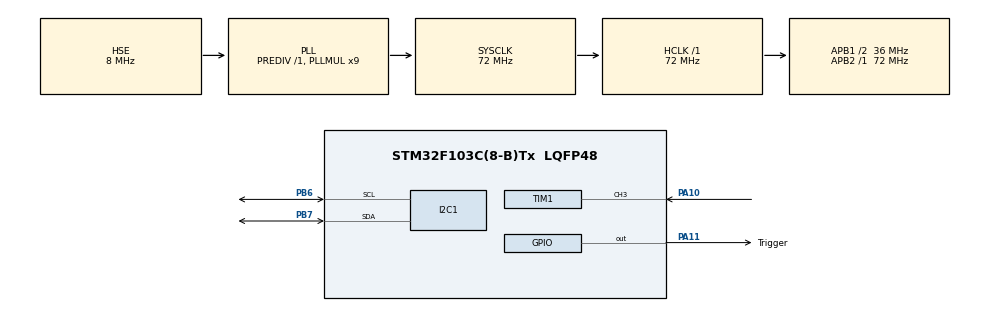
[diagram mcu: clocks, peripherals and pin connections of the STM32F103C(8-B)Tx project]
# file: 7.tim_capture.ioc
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I2C1.I2C_Mode=I2C_Fast
Mcu.Family=STM32F1
Mcu.Name=STM32F103C(8-B)Tx
Mcu.Package=LQFP48
NVIC.PriorityGroup=NVIC_PRIORITYGROUP_4
NVIC.TIM1_CC_IRQn=true\:0\:0\:false\:false\:true\:true\:true\:true
PA10.Signal=S_TIM1_CH3
PA11.GPIO_Label=Trigger
PA11.Signal=GPIO_Output
PA13.Mode=Serial_Wire
PA13.Signal=SYS_JTMS-SWDIO
PA14.Mode=Serial_Wire
PA14.Signal=SYS_JTCK-SWCLK
PB6.Mode=I2C
PB6.Signal=I2C1_SCL
PB7.Mode=I2C
PB7.Signal=I2C1_SDA
PD0-OSC_IN.Mode=HSE-External-Oscillator
PD0-OSC_IN.Signal=RCC_OSC_IN
PD1-OSC_OUT.Mode=HSE-External-Oscillator
PD1-OSC_OUT.Signal=RCC_OSC_OUT
ProjectManager.HeapSize=0x200
ProjectManager.StackSize=0x400
ProjectManager.TargetToolchain=CMake
RCC.AHBFreq_Value=72000000
RCC.APB1CLKDivider=RCC_HCLK_DIV2
RCC.APB1Freq_Value=36000000
RCC.APB1TimFreq_Value=72000000
RCC.APB2Freq_Value=72000000
RCC.APB2TimFreq_Value=72000000
RCC.HCLKFreq_Value=72000000
RCC.PLLMUL=RCC_PLL_MUL9
RCC.PLLSourceVirtual=RCC_PLLSOURCE_HSE
RCC.SYSCLKFreq_VALUE=72000000
RCC.SYSCLKSource=RCC_SYSCLKSOURCE_PLLCLK
RCC.USBFreq_Value=72000000
SH.S_TIM1_CH3.0=TIM1_CH3,Input_Capture3_from_TI3
TIM1.AutoReloadPreload=TIM_AUTORELOAD_PRELOAD_ENABLE
TIM1.Channel-Input_Capture3_from_TI3=TIM_CHANNEL_3
TIM1.Channel-Input_Capture4_from_TI3_63=TIM_CHANNEL_4
TIM1.ICPolarity_CH4=TIM_INPUTCHANNELPOLARITY_FALLING
TIM1.Prescaler=72-1
VP_TIM1_VS_ClockSourceINT.Mode=Internal
VP_TIM1_VS_indirect_ch3.Mode=Input_Capture4_from_TI3_63
board=custom

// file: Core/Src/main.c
/* USER CODE BEGIN Header */
/**
  ******************************************************************************
  * @file           : main.c
  * @brief          : Main program body
  ******************************************************************************
  * @attention
  *
  * Copyright (c) 2026 STMicroelectronics.
  * All rights reserved.
  *
  * This software is licensed under terms that can be found in the LICENSE file
  * in the root directory of this software component.
  * If no LICENSE file comes with this software, it is provided AS-IS.
  *
  ******************************************************************************
  */
/* USER CODE END Header */
#include "main.h"
#include "font.h"
#include "i2c.h"
#include "oled.h"
#include "stm32f103xb.h"
#include "stm32f1xx_hal.h"
#include "stm32f1xx_hal_gpio.h"
#include "stm32f1xx_hal_tim.h"
#include "tim.h"
#include "gpio.h"

/* USER CODE BEGIN Includes */
#include <stdio.h>
#include <string.h>
#include <stdbool.h>
/* USER CODE END Includes */

/* USER CODE BEGIN PD */
#define SPEED 0.34

/* USER CODE END PD */

void SystemClock_Config(void);

/* USER CODE BEGIN 0 */
bool is_mesuring = false;
int up_edge_timestamp=0,down_edge_timestamp=0;
struct{
  int integer;
  int floating;
}distance={
  .integer=0,
  .floating=0
};
void HAL_TIM_IC_CaptureCallback(TIM_HandleTypeDef *htim){
  if((htim==&htim1) && ((htim->Channel)==HAL_TIM_ACTIVE_CHANNEL_4)){
    up_edge_timestamp=HAL_TIM_ReadCapturedValue(htim, TIM_CHANNEL_3);
    down_edge_timestamp=HAL_TIM_ReadCapturedValue(htim, TIM_CHANNEL_4);
    distance.integer=(int)(((down_edge_timestamp-up_edge_timestamp)*SPEED)/2.0);
    distance.floating=(int)(((((down_edge_timestamp-up_edge_timestamp)*SPEED)/2.0)-distance.integer)*100);//保留两位小数
    is_mesuring=false;
    return;
  }
}

/* USER CODE END 0 */

int main(void)
{

  /* MCU Configuration--------------------------------------------------------*/

  /* Reset of all peripherals, Initializes the Flash interface and the Systick. */
  HAL_Init();

  /* Configure the system clock */
  SystemClock_Config();

  /* Initialize all configured peripherals */
  MX_GPIO_Init();
  MX_I2C1_Init();
  MX_TIM1_Init();
  /* USER CODE BEGIN 2 */
  HAL_Delay(20);
  OLED_Init();
  // OLED_NewFrame();
  // OLED_PrintString(0, 0, "Hello World", &font16x16, OLED_COLOR_NORMAL);
  // OLED_ShowFrame();

  HAL_TIM_Base_Start(&htim1);
  HAL_TIM_IC_Start(&htim1, TIM_CHANNEL_3);
  HAL_TIM_IC_Start_IT(&htim1, TIM_CHANNEL_4);

  char sendBuffer[20]="";
  /* USER CODE END 2 */

  /* Infinite loop */
  while (1)
  {

    /* USER CODE BEGIN 3 */
    if (is_mesuring==false)
    {
      HAL_GPIO_WritePin(Trigger_GPIO_Port, Trigger_Pin, GPIO_PIN_SET);
      HAL_Delay(1);
      HAL_GPIO_WritePin(Trigger_GPIO_Port, Trigger_Pin, GPIO_PIN_RESET);
      __HAL_TIM_SET_COUNTER(&htim1, 0);
      is_mesuring=true;
    }

    OLED_NewFrame();
    sprintf(sendBuffer,"distance:%d.%d",distance.integer,distance.floating);
    OLED_PrintString(0, 0, sendBuffer, &font16x16, OLED_COLOR_NORMAL);
    OLED_ShowFrame();

  }
  /* USER CODE END 3 */
}

void SystemClock_Config(void)
{
  RCC_OscInitTypeDef RCC_OscInitStruct = {0};
  RCC_ClkInitTypeDef RCC_ClkInitStruct = {0};

  /** Initializes the RCC Oscillators according to the specified parameters
  * in the RCC_OscInitTypeDef structure.
  */
  RCC_OscInitStruct.OscillatorType = RCC_OSCILLATORTYPE_HSE;
  RCC_OscInitStruct.HSEState = RCC_HSE_ON;
  RCC_OscInitStruct.HSEPredivValue = RCC_HSE_PREDIV_DIV1;
  RCC_OscInitStruct.HSIState = RCC_HSI_ON;
  RCC_OscInitStruct.PLL.PLLState = RCC_PLL_ON;
  RCC_OscInitStruct.PLL.PLLSource = RCC_PLLSOURCE_HSE;
  RCC_OscInitStruct.PLL.PLLMUL = RCC_PLL_MUL9;
  if (HAL_RCC_OscConfig(&RCC_OscInitStruct) != HAL_OK)
  {
    Error_Handler();
  }

  /** Initializes the CPU, AHB and APB buses clocks
  */
  RCC_ClkInitStruct.ClockType = RCC_CLOCKTYPE_HCLK|RCC_CLOCKTYPE_SYSCLK
                              |RCC_CLOCKTYPE_PCLK1|RCC_CLOCKTYPE_PCLK2;
  RCC_ClkInitStruct.SYSCLKSource = RCC_SYSCLKSOURCE_PLLCLK;
  RCC_ClkInitStruct.AHBCLKDivider = RCC_SYSCLK_DIV1;
  RCC_ClkInitStruct.APB1CLKDivider = RCC_HCLK_DIV2;
  RCC_ClkInitStruct.APB2CLKDivider = RCC_HCLK_DIV1;

  if (HAL_RCC_ClockConfig(&RCC_ClkInitStruct, FLASH_LATENCY_2) != HAL_OK)
  {
    Error_Handler();
  }
}

void Error_Handler(void)
{
  __disable_irq();
  while (1)
  {
  }
}
